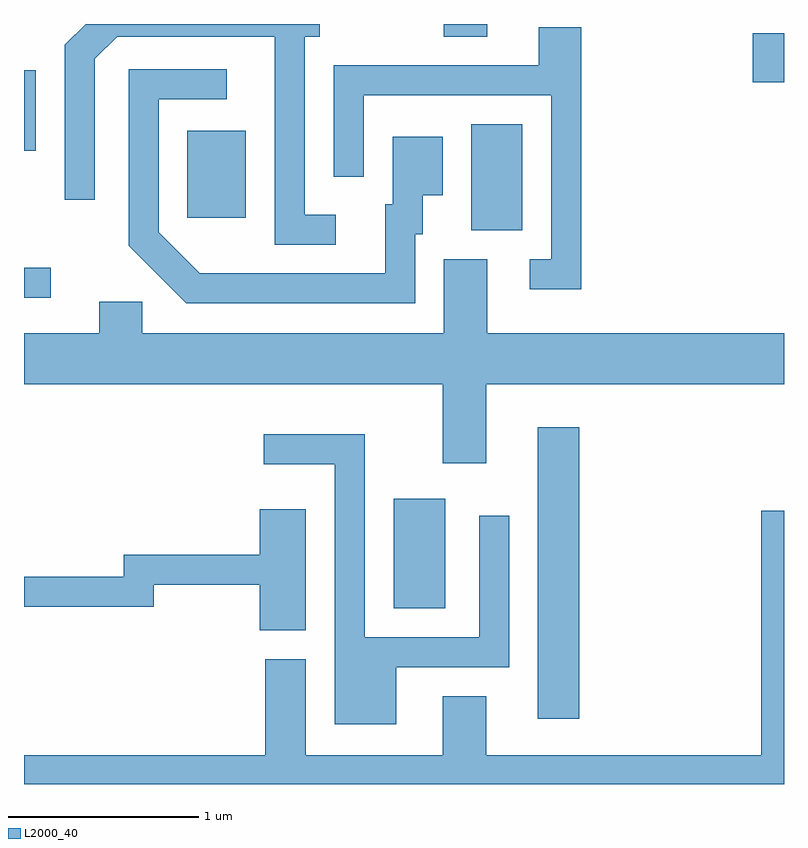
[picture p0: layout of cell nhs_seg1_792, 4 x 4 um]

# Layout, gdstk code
import gdstk
lib = gdstk.Library(unit=1e-6, precision=1e-09)
def R(c, l, rs):  # rectangles x0, y0, x1, y1
    for r in rs: c.add(gdstk.rectangle(r[:2], r[2:], *l))
def P(c, l, *ps):  # polygons
    for p in ps: c.add(gdstk.Polygon(p, *l))
L2000_40 = (2000, 40)

nhs_seg1_792 = lib.new_cell('nhs_seg1_792')
R(nhs_seg1_792, L2000_40, [(212.316,880.056,212.534,881.589), (211.556,880.636,211.829,881.214), (209.611,882.271,209.753,882.429), (211.966,882.626,212.234,883.184), (210.471,882.691,210.779,883.149), (209.611,883.046,209.674,883.469), (213.446,883.406,213.611,883.664), (211.821,883.646,212.049,883.712)])
P(nhs_seg1_792, L2000_40, [(211.253,882.709),(211.089,882.709),(211.089,883.646),(211.168,883.646),(211.168,883.712),(209.937,883.712),(209.826,883.602),(209.826,882.788),(209.984,882.788),(209.984,883.529),(210.102,883.646),(210.931,883.646),(210.931,882.551),(211.253,882.551)],
  [(212.544,883.694),(212.321,883.694),(212.321,883.494),(211.241,883.494),(211.241,882.908),(211.399,882.908),(211.399,883.336),(212.386,883.336),(212.386,882.474),(212.273,882.474),(212.273,882.316),(212.544,882.316)],
  [(211.669,882.606),(211.709,882.606),(211.709,882.811),(211.814,882.811),(211.814,883.119),(211.551,883.119),(211.551,882.764),(211.511,882.764),(211.511,882.399),(210.537,882.399),(210.319,882.617),(210.319,883.316),(210.678,883.316),(210.678,883.474),(210.161,883.474),(210.161,882.544),(210.464,882.241),(211.669,882.241)],
  [(212.044,881.816),(213.611,881.816),(213.611,882.084),(212.049,882.084),(212.049,882.474),(211.821,882.474),(211.821,882.084),(210.234,882.084),(210.234,882.249),(210.006,882.249),(210.006,882.084),(209.611,882.084),(209.611,881.816),(211.816,881.816),(211.816,881.401),(212.044,881.401)],
  [(211.569,880.326),(212.164,880.326),(212.164,881.123),(212.006,881.123),(212.006,880.484),(211.404,880.484),(211.404,881.554),(210.873,881.554),(210.873,881.396),(211.246,881.396),(211.246,880.026),(211.569,880.026)],
  [(211.094,881.159),(210.851,881.159),(210.851,880.919),(210.136,880.919),(210.136,880.804),(209.611,880.804),(209.611,880.646),(210.294,880.646),(210.294,880.761),(210.851,880.761),(210.851,880.521),(211.094,880.521)],
  [(213.611,881.149),(213.491,881.149),(213.491,879.864),(212.044,879.864),(212.044,880.174),(211.816,880.174),(211.816,879.864),(211.094,879.864),(211.094,880.369),(210.881,880.369),(210.881,879.864),(209.611,879.864),(209.611,879.712),(213.611,879.712)])

lib.write_gds('nhs_seg1_792.gds')
